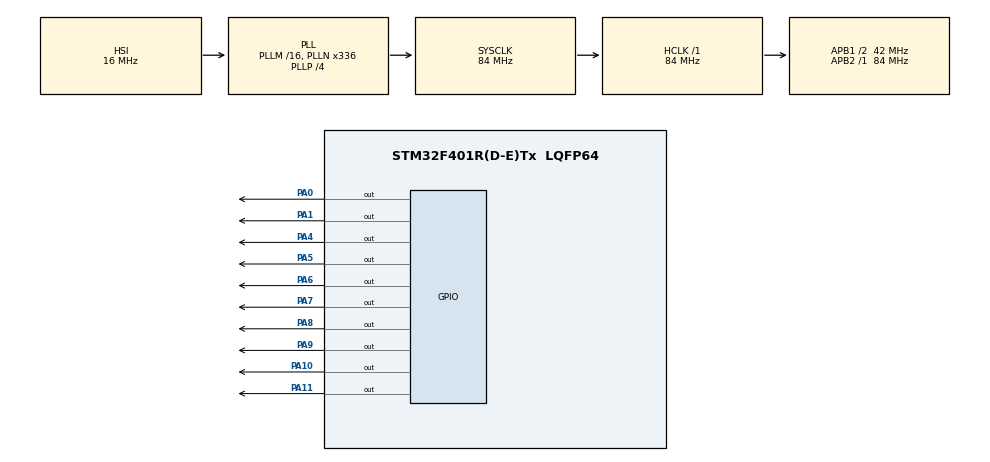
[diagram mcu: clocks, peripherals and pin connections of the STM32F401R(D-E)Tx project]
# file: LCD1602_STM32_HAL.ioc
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Mcu.Family=STM32F4
Mcu.Name=STM32F401R(D-E)Tx
Mcu.Package=LQFP64
NVIC.PriorityGroup=NVIC_PRIORITYGROUP_0
PA0-WKUP.GPIO_ModeDefaultOutputPP=GPIO_MODE_OUTPUT_PP
PA0-WKUP.GPIO_PuPd=GPIO_PULLDOWN
PA0-WKUP.PinState=GPIO_PIN_RESET
PA0-WKUP.Signal=GPIO_Output
PA1.GPIO_ModeDefaultOutputPP=GPIO_MODE_OUTPUT_PP
PA1.GPIO_PuPd=GPIO_PULLDOWN
PA1.PinState=GPIO_PIN_RESET
PA1.Signal=GPIO_Output
PA10.GPIO_ModeDefaultOutputPP=GPIO_MODE_OUTPUT_PP
PA10.GPIO_PuPd=GPIO_PULLDOWN
PA10.PinState=GPIO_PIN_RESET
PA10.Signal=GPIO_Output
PA11.GPIO_ModeDefaultOutputPP=GPIO_MODE_OUTPUT_PP
PA11.GPIO_PuPd=GPIO_PULLDOWN
PA11.PinState=GPIO_PIN_RESET
PA11.Signal=GPIO_Output
PA4.GPIO_ModeDefaultOutputPP=GPIO_MODE_OUTPUT_PP
PA4.GPIO_PuPd=GPIO_PULLDOWN
PA4.PinState=GPIO_PIN_RESET
PA4.Signal=GPIO_Output
PA5.GPIO_ModeDefaultOutputPP=GPIO_MODE_OUTPUT_PP
PA5.GPIO_PuPd=GPIO_PULLDOWN
PA5.PinState=GPIO_PIN_RESET
PA5.Signal=GPIO_Output
PA6.GPIO_ModeDefaultOutputPP=GPIO_MODE_OUTPUT_PP
PA6.GPIO_PuPd=GPIO_PULLDOWN
PA6.PinState=GPIO_PIN_RESET
PA6.Signal=GPIO_Output
PA7.GPIO_ModeDefaultOutputPP=GPIO_MODE_OUTPUT_PP
PA7.GPIO_PuPd=GPIO_PULLDOWN
PA7.PinState=GPIO_PIN_RESET
PA7.Signal=GPIO_Output
PA8.GPIO_ModeDefaultOutputPP=GPIO_MODE_OUTPUT_PP
PA8.GPIO_PuPd=GPIO_PULLDOWN
PA8.PinState=GPIO_PIN_RESET
PA8.Signal=GPIO_Output
PA9.GPIO_ModeDefaultOutputPP=GPIO_MODE_OUTPUT_PP
PA9.GPIO_PuPd=GPIO_PULLDOWN
PA9.PinState=GPIO_PIN_RESET
PA9.Signal=GPIO_Output
ProjectManager.HeapSize=0x200
ProjectManager.StackSize=0x400
ProjectManager.TargetToolchain=STM32CubeIDE
RCC.48MHZClocksFreq_Value=48000000
RCC.AHBFreq_Value=84000000
RCC.APB1CLKDivider=RCC_HCLK_DIV2
RCC.APB1Freq_Value=42000000
RCC.APB1TimFreq_Value=84000000
RCC.APB2Freq_Value=84000000
RCC.APB2TimFreq_Value=84000000
RCC.CortexFreq_Value=84000000
RCC.HCLKFreq_Value=84000000
RCC.HSE_VALUE=8000000
RCC.HSI_VALUE=16000000
RCC.PLLN=336
RCC.PLLP=RCC_PLLP_DIV4
RCC.PLLQ=7
RCC.SYSCLKFreq_VALUE=84000000
RCC.SYSCLKSource=RCC_SYSCLKSOURCE_PLLCLK
RCC.VCOOutputFreq_Value=336000000
TIM9.Prescaler=84-1
VP_TIM9_VS_ClockSourceINT.Mode=Internal
board=NUCLEO-F401RE

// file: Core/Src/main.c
/* USER CODE BEGIN Header */
/**
  ******************************************************************************
  * @file           : main.c
  * @brief          : Main program body
  ******************************************************************************
  * @attention
  *
  * Copyright (c) 2023 STMicroelectronics.
  * All rights reserved.
  *
  * This software is licensed under terms that can be found in the LICENSE file
  * in the root directory of this software component.
  * If no LICENSE file comes with this software, it is provided AS-IS.
  *
  ******************************************************************************
  */
/* USER CODE END Header */
#include "main.h"

/* USER CODE BEGIN Includes */
#include "LCD1602.h"
#include "LCD1602_conf.h"
/* USER CODE END Includes */

TIM_HandleTypeDef htim9;

/* USER CODE BEGIN PV */

Display_options display_options_var = {0, 1, 0, 1, 1, 0};

Visiblity_options visiblity_options_var = {1, 0, 0, 1, 0, 1};

Entry_options entry_options_var = {1, 0, 1, 0};

uint8_t custom_character_1[8] = {
  0b00000,
  0b00000,
  0b00000,
  0b00000,
  0b00000,
  0b00000,
  0b00000,
  0b00000
};

uint8_t custom_character_2[8] = {
  0b00000,
  0b00000,
  0b00000,
  0b00000,
  0b00000,
  0b00000,
  0b00000,
  0b00000
};

uint8_t custom_character_3[8] = {
  0b00000,
  0b00000,
  0b00000,
  0b00000,
  0b00000,
  0b00000,
  0b00000,
  0b00000
};

uint8_t custom_character_4[8] = {
  0b00000,
  0b00000,
  0b00000,
  0b00000,
  0b00000,
  0b00000,
  0b00000,
  0b00000
};

uint8_t custom_character_5[8] = {
  0b00000,
  0b00000,
  0b00000,
  0b00000,
  0b00000,
  0b00000,
  0b00000,
  0b00000
};

uint8_t custom_character_6[8] = {
  0b00000,
  0b00000,
  0b00000,
  0b00000,
  0b00000,
  0b00000,
  0b00000,
  0b00000
};

uint8_t custom_character_7[8] = {
  0b00000,
  0b00000,
  0b00000,
  0b00000,
  0b00000,
  0b00000,
  0b00000,
  0b00000
};

uint8_t custom_character_8[8] = {
  0b00000,
  0b00000,
  0b00000,
  0b00000,
  0b00000,
  0b00000,
  0b00000,
  0b00000
};

/* USER CODE END PV */

void SystemClock_Config(void);
static void MX_GPIO_Init(void);
static void MX_TIM9_Init(void);
/* USER CODE BEGIN PFP */
extern void delay_us(uint16_t);
static void set_gpio_to_zero();
/* USER CODE END PFP */

int main(void)
{

  /* MCU Configuration--------------------------------------------------------*/

  /* Reset of all peripherals, Initializes the Flash interface and the Systick. */
  HAL_Init();

  /* Configure the system clock */
  SystemClock_Config();

  /* Initialize all configured peripherals */
  MX_GPIO_Init();
  MX_TIM9_Init();
  /* USER CODE BEGIN 2 */
  HAL_TIM_Base_Start(&htim9);

  // Sets all ports to zero
  set_gpio_to_zero();

  lcd_start(display_options_var, visiblity_options_var, entry_options_var);
  //lcd_show_cursor();
  lcd_write("Hello World!");

  /* USER CODE END 2 */

  /* Infinite loop */
  /* USER CODE BEGIN WHILE */
  while (1)
  {

    // Scroll left
    for(int position = 0; position < 13; position++)
    {
      lcd_scroll_left();
      HAL_Delay(1000); // wait for 1 second
    }

    // Scroll right
    for(int position = 0; position < 29; position++)
    {
      lcd_scroll_right();
      HAL_Delay(1000); // wait for 1 second
    }

    // Reset text
    for(int position = 0; position < 16; position++)
    {
      lcd_scroll_left();
      HAL_Delay(1000); // wait for 1 second
    }

  }
}

void SystemClock_Config(void)
{
  RCC_OscInitTypeDef RCC_OscInitStruct = {0};
  RCC_ClkInitTypeDef RCC_ClkInitStruct = {0};

  /** Configure the main internal regulator output voltage
  */
  __HAL_RCC_PWR_CLK_ENABLE();
  __HAL_PWR_VOLTAGESCALING_CONFIG(PWR_REGULATOR_VOLTAGE_SCALE2);

  /** Initializes the RCC Oscillators according to the specified parameters
  * in the RCC_OscInitTypeDef structure.
  */
  RCC_OscInitStruct.OscillatorType = RCC_OSCILLATORTYPE_HSI;
  RCC_OscInitStruct.HSIState = RCC_HSI_ON;
  RCC_OscInitStruct.HSICalibrationValue = RCC_HSICALIBRATION_DEFAULT;
  RCC_OscInitStruct.PLL.PLLState = RCC_PLL_ON;
  RCC_OscInitStruct.PLL.PLLSource = RCC_PLLSOURCE_HSI;
  RCC_OscInitStruct.PLL.PLLM = 16;
  RCC_OscInitStruct.PLL.PLLN = 336;
  RCC_OscInitStruct.PLL.PLLP = RCC_PLLP_DIV4;
  RCC_OscInitStruct.PLL.PLLQ = 7;
  if (HAL_RCC_OscConfig(&RCC_OscInitStruct) != HAL_OK)
  {
    Error_Handler();
  }

  /** Initializes the CPU, AHB and APB buses clocks
  */
  RCC_ClkInitStruct.ClockType = RCC_CLOCKTYPE_HCLK|RCC_CLOCKTYPE_SYSCLK
                              |RCC_CLOCKTYPE_PCLK1|RCC_CLOCKTYPE_PCLK2;
  RCC_ClkInitStruct.SYSCLKSource = RCC_SYSCLKSOURCE_PLLCLK;
  RCC_ClkInitStruct.AHBCLKDivider = RCC_SYSCLK_DIV1;
  RCC_ClkInitStruct.APB1CLKDivider = RCC_HCLK_DIV2;
  RCC_ClkInitStruct.APB2CLKDivider = RCC_HCLK_DIV1;

  if (HAL_RCC_ClockConfig(&RCC_ClkInitStruct, FLASH_LATENCY_2) != HAL_OK)
  {
    Error_Handler();
  }
}

static void MX_TIM9_Init(void)
{

  TIM_ClockConfigTypeDef sClockSourceConfig = {0};

  htim9.Instance = TIM9;
  htim9.Init.Prescaler = 84-1;
  htim9.Init.CounterMode = TIM_COUNTERMODE_UP;
  htim9.Init.Period = 65535;
  htim9.Init.ClockDivision = TIM_CLOCKDIVISION_DIV1;
  htim9.Init.AutoReloadPreload = TIM_AUTORELOAD_PRELOAD_DISABLE;
  if (HAL_TIM_Base_Init(&htim9) != HAL_OK)
  {
    Error_Handler();
  }
  sClockSourceConfig.ClockSource = TIM_CLOCKSOURCE_INTERNAL;
  if (HAL_TIM_ConfigClockSource(&htim9, &sClockSourceConfig) != HAL_OK)
  {
    Error_Handler();
  }

}

static void MX_GPIO_Init(void)
{
  GPIO_InitTypeDef GPIO_InitStruct = {0};

  /* GPIO Ports Clock Enable */
  __HAL_RCC_GPIOA_CLK_ENABLE();

  /*Configure GPIO pin Output Level */
  HAL_GPIO_WritePin(GPIO_PORT, GPIO_PIN_0|GPIO_PIN_1|GPIO_PIN_4|GPIO_PIN_5
                          |GPIO_PIN_6|GPIO_PIN_7|GPIO_PIN_8|GPIO_PIN_9
                          |GPIO_PIN_10|GPIO_PIN_11, GPIO_PIN_RESET);

  /*Configure GPIO pins : PA0 PA1 PA4 PA5
                           PA6 PA7 PA8 PA9
                           PA10 PA11 */
  GPIO_InitStruct.Pin = GPIO_PIN_0|GPIO_PIN_1|GPIO_PIN_4|GPIO_PIN_5
                          |GPIO_PIN_6|GPIO_PIN_7|GPIO_PIN_8|GPIO_PIN_9
                          |GPIO_PIN_10|GPIO_PIN_11;
  GPIO_InitStruct.Mode = GPIO_MODE_OUTPUT_PP;
  GPIO_InitStruct.Pull = GPIO_PULLDOWN;
  GPIO_InitStruct.Speed = GPIO_SPEED_FREQ_LOW;
  HAL_GPIO_Init(GPIO_PORT, &GPIO_InitStruct);

}

/* USER CODE BEGIN 4 */
extern void delay_us(uint16_t us)
{
  __HAL_TIM_SET_COUNTER(&htim9, 0);
  while (__HAL_TIM_GET_COUNTER(&htim9) < us);
}

static void set_gpio_to_zero()
{
  HAL_GPIO_WritePin(GPIO_PORT, GPIO_PIN_0, 0);
  HAL_GPIO_WritePin(GPIO_PORT, GPIO_PIN_1, 0);
  HAL_GPIO_WritePin(GPIO_PORT, GPIO_PIN_2, 0);
  HAL_GPIO_WritePin(GPIO_PORT, GPIO_PIN_3, 0);
  HAL_GPIO_WritePin(GPIO_PORT, GPIO_PIN_4, 0);
  HAL_GPIO_WritePin(GPIO_PORT, GPIO_PIN_5, 0);
  HAL_GPIO_WritePin(GPIO_PORT, GPIO_PIN_6, 0);
  HAL_GPIO_WritePin(GPIO_PORT, GPIO_PIN_7, 0);
  HAL_GPIO_WritePin(GPIO_PORT, GPIO_PIN_8, 0);
  HAL_GPIO_WritePin(GPIO_PORT, GPIO_PIN_9, 0);
  HAL_GPIO_WritePin(GPIO_PORT, GPIO_PIN_10, 0);
  HAL_GPIO_WritePin(GPIO_PORT, GPIO_PIN_11, 0);
  HAL_GPIO_WritePin(GPIO_PORT, GPIO_PIN_12, 0);
//  HAL_GPIO_WritePin(GPIO_PORT, GPIO_PIN_13, 0); System uses this port
//  HAL_GPIO_WritePin(GPIO_PORT, GPIO_PIN_14, 0); System uses this port
  HAL_GPIO_WritePin(GPIO_PORT, GPIO_PIN_15, 0);
}
/* USER CODE END 4 */

void Error_Handler(void)
{
  __disable_irq();
  while (1)
  {
  }
}
